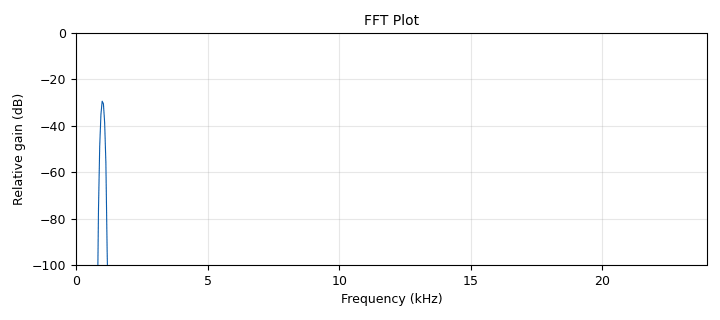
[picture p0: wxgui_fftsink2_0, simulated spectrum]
<?xml version='1.0' encoding='utf-8'?>
<flow_graph>
<block>
<key>variable</key>
<param><key>id</key><value>samp_rate</value></param>
<param><key>value</key><value>48000</value></param>
</block>
<block>
<key>audio_sink</key>
<param><key>id</key><value>audio_sink_0</value></param>
<param><key>samp_rate</key><value>samp_rate</value></param>
</block>
<block>
<key>wxgui_fftsink2</key>
<param><key>id</key><value>wxgui_fftsink2_0</value></param>
<param><key>type</key><value>float</value></param>
<param><key>title</key><value>FFT Plot</value></param>
<param><key>samp_rate</key><value>samp_rate</value></param>
<param><key>baseband_freq</key><value>0</value></param>
<param><key>y_per_div</key><value>10</value></param>
<param><key>y_divs</key><value>10</value></param>
<param><key>ref_level</key><value>0</value></param>
<param><key>ref_scale</key><value>2.0</value></param>
<param><key>fft_size</key><value>1024</value></param>
<param><key>fft_rate</key><value>15</value></param>
<param><key>peak_hold</key><value>False</value></param>
<param><key>average</key><value>False</value></param>
<param><key>avg_alpha</key><value>0</value></param>
<param><key>win</key><value>None</value></param>
<param><key>freqvar</key><value>None</value></param>
</block>
<block>
<key>gr_sig_source_x</key>
<param><key>id</key><value>gr_sig_source_x_0</value></param>
<param><key>type</key><value>float</value></param>
<param><key>samp_rate</key><value>samp_rate</value></param>
<param><key>waveform</key><value>gr.GR_COS_WAVE</value></param>
<param><key>freq</key><value>1000</value></param>
<param><key>amp</key><value>.1</value></param>
<param><key>offset</key><value>0</value></param>
</block>
<block>
<key>options</key>
<param><key>id</key><value>beep</value></param>
<param><key>title</key><value>simple audio beep 1kHz</value></param>
<param><key>author</key><value>Alex Grinkov</value></param>
<param><key>generate_options</key><value>wx_gui</value></param>
<param><key>category</key><value>Custom</value></param>
</block>
<connection><source_block_id>gr_sig_source_x_0</source_block_id><sink_block_id>audio_sink_0</sink_block_id><source_key>0</source_key><sink_key>0</sink_key></connection>
<connection><source_block_id>gr_sig_source_x_0</source_block_id><sink_block_id>wxgui_fftsink2_0</sink_block_id><source_key>0</source_key><sink_key>0</sink_key></connection>
</flow_graph>
